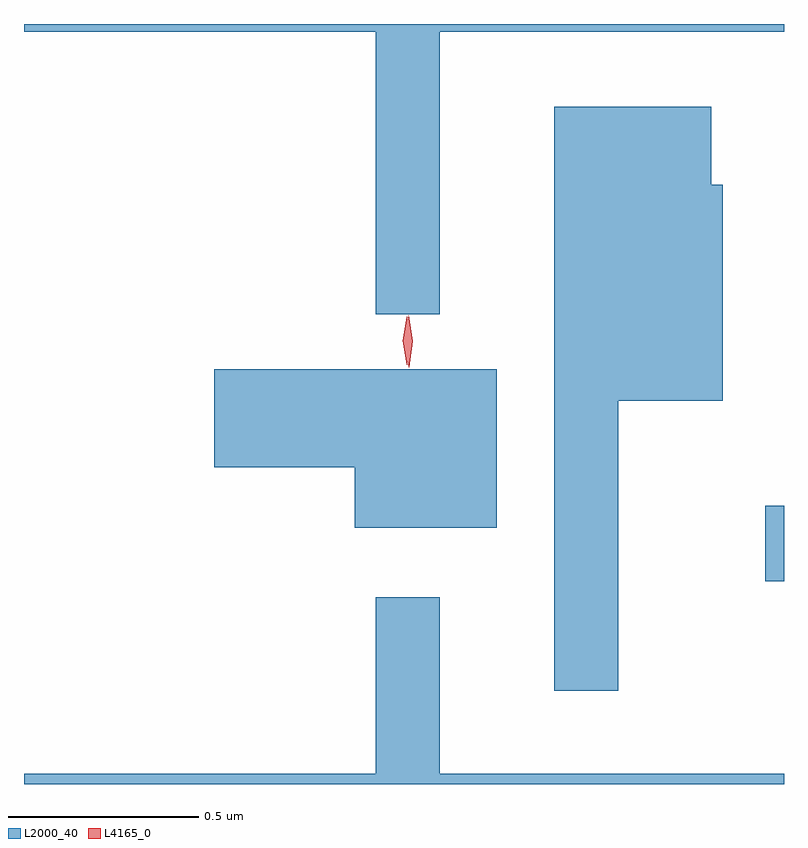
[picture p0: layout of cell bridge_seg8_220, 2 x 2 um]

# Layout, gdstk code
import gdstk
lib = gdstk.Library(unit=1e-6, precision=1e-09)
def R(c, l, rs):  # rectangles x0, y0, x1, y1
    for r in rs: c.add(gdstk.rectangle(r[:2], r[2:], *l))
def P(c, l, *ps):  # polygons
    for p in ps: c.add(gdstk.Polygon(p, *l))
L2000_40 = (2000, 40)
L4165_0 = (4165, 0)

bridge_seg8_220 = lib.new_cell('bridge_seg8_220')
R(bridge_seg8_220, L2000_40, [(1091.056,1886.031,1091.105,1886.229)])
P(bridge_seg8_220, L2000_40, [(1090.199,1887.476),(1091.105,1887.476),(1091.105,1887.497),(1089.105,1887.497),(1089.105,1887.476),(1090.031,1887.476),(1090.031,1886.733),(1090.199,1886.733)],
  [(1090.669,1886.506),(1090.944,1886.506),(1090.944,1887.074),(1090.914,1887.074),(1090.914,1887.279),(1090.501,1887.279),(1090.501,1885.743),(1090.669,1885.743)],
  [(1090.349,1886.589),(1089.606,1886.589),(1089.606,1886.331),(1089.976,1886.331),(1089.976,1886.171),(1090.349,1886.171)],
  [(1091.105,1885.524),(1090.199,1885.524),(1090.199,1885.988),(1090.031,1885.988),(1090.031,1885.524),(1089.105,1885.524),(1089.105,1885.497),(1091.105,1885.497)])
P(bridge_seg8_220, L4165_0, [(1090.112,1886.6),(1090.112,1886.6),(1090.102,1886.664),(1090.112,1886.726),(1090.112,1886.727),(1090.113,1886.726),(1090.122,1886.664),(1090.113,1886.6)],
  [(1090.118,1886.594),(1090.118,1886.594),(1090.108,1886.662),(1090.117,1886.73),(1090.118,1886.73),(1090.118,1886.73),(1090.128,1886.662),(1090.119,1886.594)])

lib.write_gds('bridge_seg8_220.gds')
